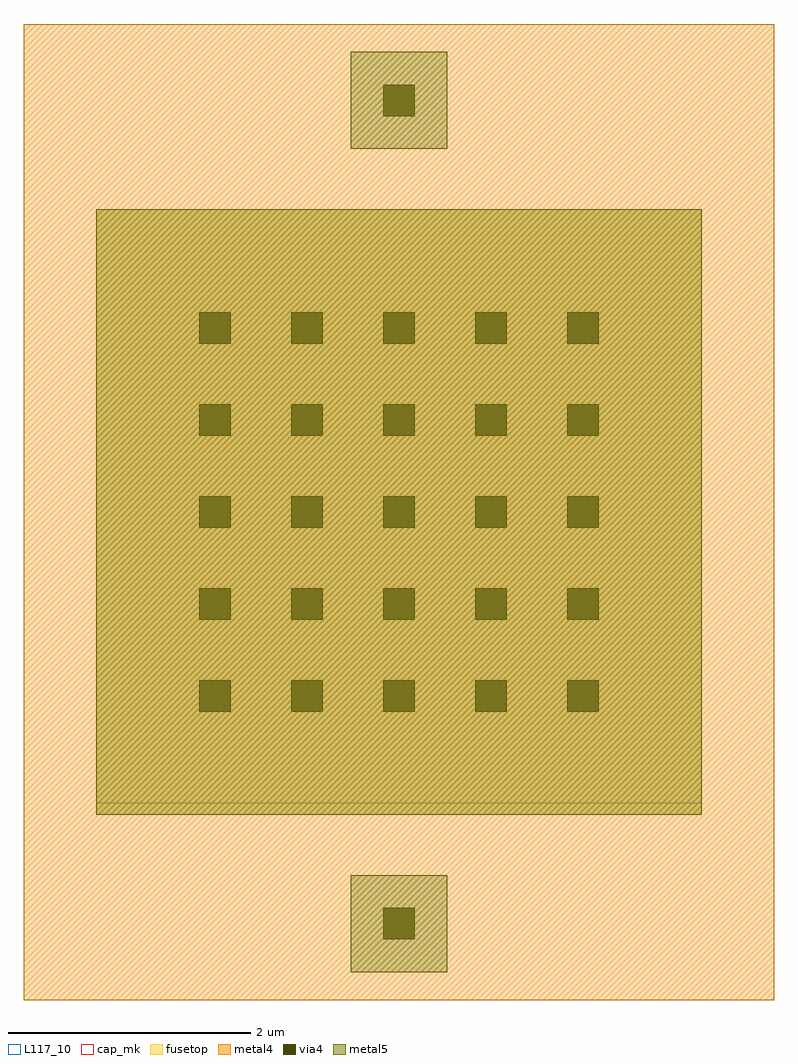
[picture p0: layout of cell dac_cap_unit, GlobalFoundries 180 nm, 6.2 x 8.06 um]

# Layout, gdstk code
import gdstk
lib = gdstk.Library(unit=1e-6, precision=1e-09)
def R(c, l, rs):  # rectangles x0, y0, x1, y1
    for r in rs: c.add(gdstk.rectangle(r[:2], r[2:], *l))
def A(c, l, x, y, w, h, nx, ny, dx, dy):  # array of equal rectangles
    R(c, l, [(x+i*dx, y+j*dy, x+i*dx+w, y+j*dy+h) for i in range(nx) for j in range(ny)])
via4 = (41, 0)
metal4 = (46, 0)
fusetop = (75, 0)
metal5 = (81, 0)
cap_mk = (117, 5)
L117_10 = (117, 10)

dac_cap_unit = lib.new_cell('dac_cap_unit')
A(dac_cap_unit, via4, -1.65, -1.65, 0.26, 0.26, 5, 5, 0.76, 0.76)
R(dac_cap_unit, via4, [(-0.13,-3.53,0.13,-3.27), (-0.13,3.27,0.13,3.53)])
R(dac_cap_unit, metal4, [(-3.1,-4.03,3.1,4.03)])
R(dac_cap_unit, fusetop, [(-2.5,-2.5,2.5,2.5)])
R(dac_cap_unit, metal5, [(-0.4,-3.8,0.4,-3), (-2.5,-2.5,2.5,2.5), (-0.4,3,0.4,3.8)])
R(dac_cap_unit, cap_mk, [(-3.1,-4.03,3.1,4.03)])
R(dac_cap_unit, L117_10, [(-2.5,-2.5,2.5,-2.4)])

lib.write_gds('dac_cap_unit.gds')
